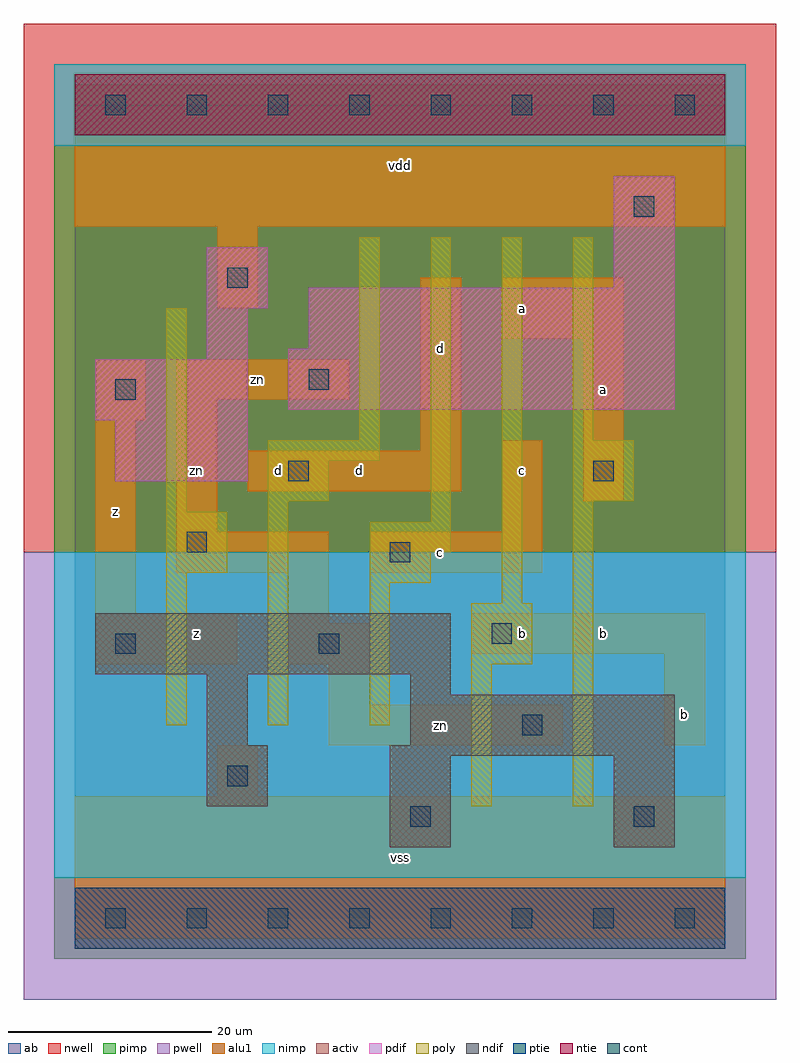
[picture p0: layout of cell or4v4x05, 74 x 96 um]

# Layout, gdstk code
import gdstk
lib = gdstk.Library(unit=1e-6, precision=1e-09)
def R(c, l, rs):  # rectangles x0, y0, x1, y1
    for r in rs: c.add(gdstk.rectangle(r[:2], r[2:], *l))
def A(c, l, x, y, w, h, nx, ny, dx, dy):  # array of equal rectangles
    R(c, l, [(x+i*dx, y+j*dy, x+i*dx+w, y+j*dy+h) for i in range(nx) for j in range(ny)])
ndif = (3, 0)
pdif = (4, 0)
ntie = (5, 0)
ptie = (6, 0)
cont = (25, 0)
pwell = (41, 0)
nwell = (42, 0)
activ = (43, 0)
pimp = (44, 0)
nimp = (45, 0)
poly = (46, 0)
alu1 = (49, 0)
ab = (63, 0)

or4v4x05 = lib.new_cell('or4v4x05')
R(or4v4x05, ndif, [(31,7,37,16), (53,7,59,16), (13,11,19,17), (31,16,59,17), (13,17,17,24), (33,17,59,22), (33,22,37,24), (2,24,37,30)])
R(or4v4x05, pdif, [(4,43,17,49), (2,49,17,55), (21,50,59,56), (13,55,17,60), (23,56,59,62), (13,60,19,66), (53,62,59,73)])
R(or4v4x05, ntie, [(0,77,64,83)])
R(or4v4x05, ptie, [(0,-3,64,3)])
A(or4v4x05, cont, 3, -1, 2, 2, 8, 2, 8, 80)
R(or4v4x05, cont, [(33,9,35,11), (55,9,57,11), (15,13,17,15), (44,18,46,20), (4,26,6,28), (24,26,26,28), (41,27,43,29), (31,35,33,37), (11,36,13,38), (21,43,23,45), (51,43,53,45), (4,51,6,53), (23,52,25,54), (15,62,17,64), (55,69,57,71)])
R(or4v4x05, pwell, [(-5,-8,69,36)])
R(or4v4x05, nwell, [(-5,36,69,88)])
R(or4v4x05, activ, [(0,-3,64,3), (31,7,37,16), (53,7,59,16), (13,11,19,17), (31,16,59,17), (13,17,17,24), (33,17,59,22), (33,22,37,24), (2,24,37,30), (4,43,17,49), (2,49,17,55), (21,50,59,56), (13,55,17,60), (23,56,59,62), (13,60,19,66), (53,62,59,73), (0,77,64,83)])
R(or4v4x05, pimp, [(-2,-4,66,4), (-2,36,66,76)])
R(or4v4x05, nimp, [(-2,4,66,36), (-2,76,66,84)])
R(or4v4x05, poly, [(39,11,41,25), (49,11,51,41), (9,19,11,34), (19,19,21,41), (29,19,31,33), (39,25,45,31), (42,31,44,67), (29,33,35,36), (9,34,15,40), (29,36,37,39), (35,39,37,67), (9,40,11,60), (19,41,25,45), (49,41,55,47), (19,45,30,47), (28,47,30,67), (49,47,51,67)])
R(or4v4x05, alu1, [(0,-2,64,12), (14,12,18,17), (25,17,48,21), (58,17,62,26), (25,21,29,25), (2,25,16,30), (21,25,29,29), (39,26,62,30), (21,29,25,34), (2,30,6,49), (10,34,25,38), (29,34,46,38), (10,38,14,51), (42,38,46,47), (50,41,54,57), (17,42,38,46), (34,46,38,63), (2,49,7,55), (10,51,27,55), (42,57,54,63), (14,60,18,68), (0,68,64,82)])
R(or4v4x05, ab, [(0,0,64,80)])
or4v4x05.add(gdstk.Label('zn', (12,44), layer=49, texttype=0))
or4v4x05.add(gdstk.Label('zn', (18,53), layer=49, texttype=0))
or4v4x05.add(gdstk.Label('zn', (36,19), layer=49, texttype=0))
or4v4x05.add(gdstk.Label('z', (12,28), layer=49, texttype=0))
or4v4x05.add(gdstk.Label('z', (4,40), layer=49, texttype=0))
or4v4x05.add(gdstk.Label('d', (20,44), layer=49, texttype=0))
or4v4x05.add(gdstk.Label('d', (28,44), layer=49, texttype=0))
or4v4x05.add(gdstk.Label('vss', (32,6), layer=49, texttype=0))
or4v4x05.add(gdstk.Label('c', (36,36), layer=49, texttype=0))
or4v4x05.add(gdstk.Label('b', (44,28), layer=49, texttype=0))
or4v4x05.add(gdstk.Label('c', (44,44), layer=49, texttype=0))
or4v4x05.add(gdstk.Label('d', (36,56), layer=49, texttype=0))
or4v4x05.add(gdstk.Label('a', (44,60), layer=49, texttype=0))
or4v4x05.add(gdstk.Label('vdd', (32,74), layer=49, texttype=0))
or4v4x05.add(gdstk.Label('b', (60,20), layer=49, texttype=0))
or4v4x05.add(gdstk.Label('b', (52,28), layer=49, texttype=0))
or4v4x05.add(gdstk.Label('a', (52,52), layer=49, texttype=0))

lib.write_gds('or4v4x05.gds')
